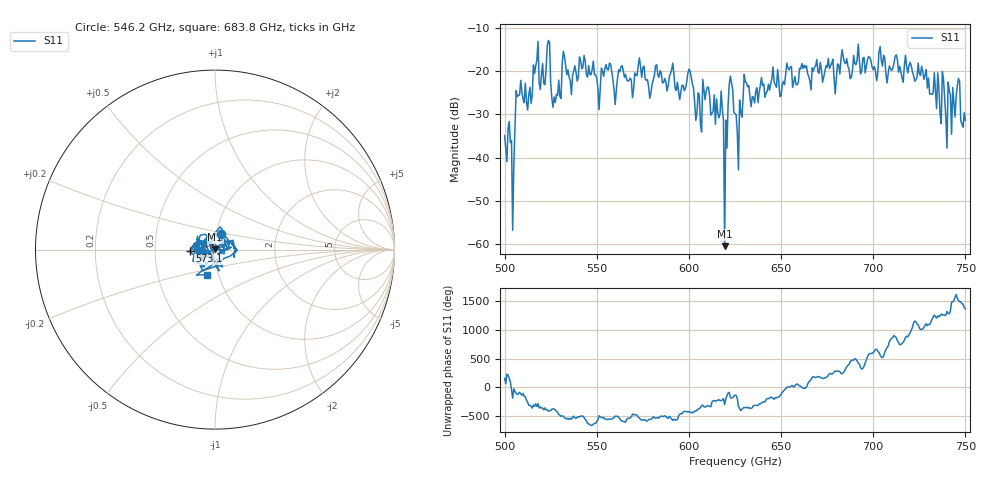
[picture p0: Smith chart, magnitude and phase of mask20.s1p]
!Created with skrf (http://scikit-rf.org).
# GHz S MA R 50.0
!freq magS11 angS11
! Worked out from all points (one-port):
!   401 points, 500 GHz to 750 GHz, reference 50 ohm
!   lowest |S11| = -60.4 dB at 619.4 GHz (marker M1), VSWR 1.00, Z = 50.1 + j0.0798 ohm
!   |S11| at or under -10 dB: start of sweep to end of sweep
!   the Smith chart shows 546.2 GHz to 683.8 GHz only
!   S11 on the Smith chart (normalised r, x): 546.2 GHz: 1.05, +0.18; 573.1 GHz: 0.75, -0.02; 683.8 GHz: 0.88, -0.25
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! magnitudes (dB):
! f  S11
! 500 GHz  -34.9
! 504.4 GHz  -56.7
! 507.5 GHz  -25.6
! 513.8 GHz  -23.7
! 516.9 GHz  -18.8
! 523.8 GHz  -13.0
! 526.9 GHz  -26.0
! 531.2 GHz  -18.1
! 546.2 GHz  -20.8
! 562.5 GHz  -20.2
! 573.1 GHz  -17.0
! 593.8 GHz  -22.6
! 600.6 GHz  -20.0
! 605.6 GHz  -25.5
! 608.8 GHz  -26.6
! 617.5 GHz  -24.6
! 619.4 GHz  -60.4
! 622.5 GHz  -21.2
! 625 GHz  -29.8
! 627.5 GHz  -26.7
! 631.2 GHz  -22.7
! 656.2 GHz  -23.8
! 683.8 GHz  -16.7
! 687.5 GHz  -21.8
! 718.8 GHz  -20.4
! 741.2 GHz  -24.5
! 746.2 GHz  -21.7
! 750 GHz  -31.4
